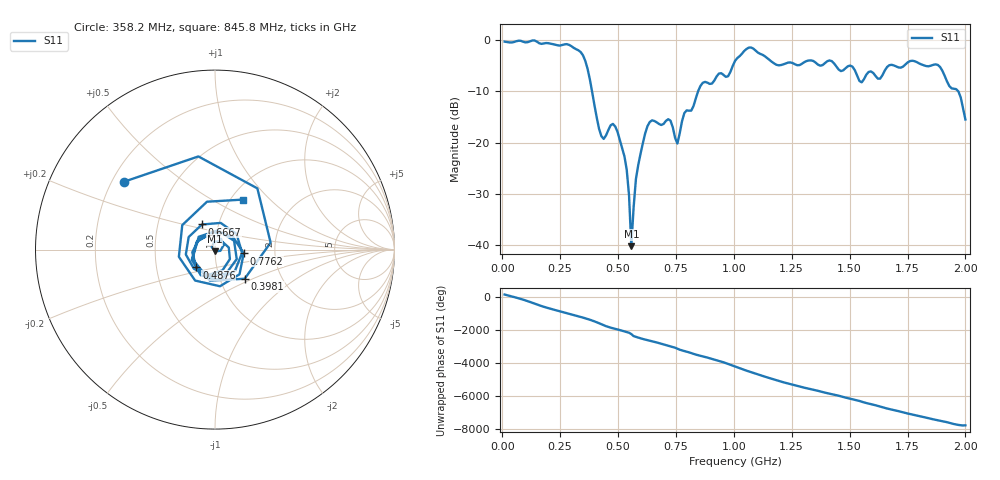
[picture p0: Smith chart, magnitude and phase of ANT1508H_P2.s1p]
!Created with skrf (http://scikit-rf.org).
# Hz S RI R 50.0
!freq ReS11 ImS11
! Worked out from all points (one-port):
!   201 points, 10 MHz to 2 GHz, reference 50 ohm
!   lowest |S11| = -40.3 dB at 557.2 MHz (marker M1), VSWR 1.02, Z = 49.9 - j0.958 ohm
!   |S11| at or under -10 dB: 387.7 MHz to 845.4 MHz (457.7 MHz wide, 74.2 % of centre); 1.97 GHz to end of sweep
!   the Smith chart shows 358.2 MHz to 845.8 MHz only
!   S11 on the Smith chart (normalised r, x): 358.2 MHz: 0.25, +0.31; 398.1 MHz: 1.31, -0.45; 487.6 MHz: 0.80, -0.16; 666.7 MHz: 0.83, +0.24; 776.1 MHz: 1.38, -0.06; 845.8 MHz: 1.13, +0.70
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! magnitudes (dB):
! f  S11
! 10 MHz  -0.3
! 258.8 MHz  -0.9
! 358.2 MHz  -4.0
! 398.1 MHz  -12.7
! 437.9 MHz  -19.3
! 487.6 MHz  -16.9
! 507.5 MHz  -19.5
! 537.4 MHz  -25.3
! 547.3 MHz  -30.3
! 557.2 MHz  -40.3
! 577.1 MHz  -27.1
! 597 MHz  -22.2
! 626.9 MHz  -16.8
! 666.7 MHz  -16.0
! 726.4 MHz  -15.7
! 756.2 MHz  -20.2
! 776.1 MHz  -15.8
! 845.8 MHz  -9.9
! 975.1 MHz  -7.0
! 1.005 GHz  -4.0
! 1.075 GHz  -1.4
! 1.254 GHz  -4.4
! 1.502 GHz  -4.9
! 1.552 GHz  -8.2
! 1.751 GHz  -4.3
! 1.891 GHz  -5.2
! 1.97 GHz  -10.0
! 2 GHz  -15.5
